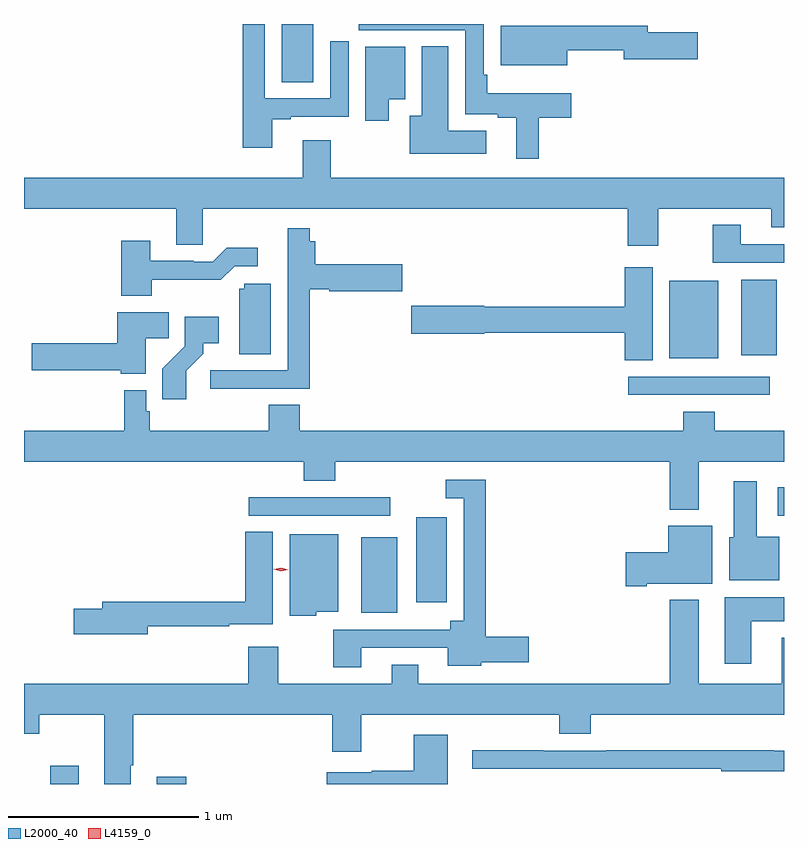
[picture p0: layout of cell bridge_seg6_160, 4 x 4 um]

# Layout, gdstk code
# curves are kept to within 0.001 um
import gdstk
lib = gdstk.Library(unit=1e-6, precision=1e-09)
def R(c, l, rs):  # rectangles x0, y0, x1, y1
    for r in rs: c.add(gdstk.rectangle(r[:2], r[2:], *l))
def P(c, l, *ps):  # polygons
    for p in ps: c.add(gdstk.Polygon(p, *l))
L2000_40 = (2000, 40)
L4159_0 = (4159, 0)

bridge_seg6_160 = lib.new_cell('bridge_seg6_160')
R(bridge_seg6_160, L2000_40, [(615.207,953.632,615.355,953.728), (615.767,953.632,615.922,953.671), (616.844,954.533,617.032,954.931), (617.132,954.588,617.293,955.036), (619.035,955.043,619.068,955.195), (616.251,955.044,616.996,955.14), (618.249,955.68,618.994,955.776), (618.464,955.874,618.721,956.281), (618.842,955.889,619.03,956.287), (616.424,957.325,616.591,957.632)])
P(bridge_seg6_160, L2000_40, [(616.375,957.132),(616.471,957.132),(616.471,957.144),(616.776,957.144),(616.776,957.541),(616.68,957.541),(616.68,957.24),(616.335,957.24),(616.335,957.632),(616.219,957.632),(616.219,956.982),(616.375,956.982)],
  [(617.777,957.139),(617.947,957.139),(617.947,957.268),(617.507,957.268),(617.507,957.364),(617.487,957.364),(617.487,957.632),(616.831,957.632),(616.831,957.6),(617.391,957.6),(617.391,957.158),(617.562,957.158),(617.562,957.139),(617.66,957.139),(617.66,956.922),(617.777,956.922)],
  [(617.926,957.493),(618.224,957.493),(618.224,957.446),(618.613,957.446),(618.613,957.588),(618.352,957.588),(618.352,957.622),(617.576,957.622),(617.576,957.416),(617.926,957.416)],
  [(617.5,957.07),(617.302,957.07),(617.302,957.515),(617.162,957.515),(617.162,957.148),(617.099,957.148),(617.099,956.948),(617.5,956.948)],
  [(616.987,957.236),(617.074,957.236),(617.074,957.511),(616.865,957.511),(616.865,957.123),(616.987,957.123)],
  [(618.405,956.66),(619.001,956.66),(619.001,956.561),(619.068,956.561),(619.068,956.824),(616.683,956.824),(616.683,957.019),(616.535,957.019),(616.535,956.824),(615.068,956.824),(615.068,956.66),(615.869,956.66),(615.869,956.47),(616.008,956.47),(616.008,956.66),(618.245,956.66),(618.245,956.466),(618.405,956.466)],
  [(619.068,956.472),(618.841,956.472),(618.841,956.575),(618.694,956.575),(618.694,956.376),(619.068,956.376)],
  [(616.271,955.713),(616.571,955.713),(616.571,956.237),(616.674,956.237),(616.674,956.225),(617.059,956.225),(617.059,956.367),(616.601,956.367),(616.601,956.488),(616.571,956.488),(616.571,956.557),(616.455,956.557),(616.455,955.809),(616.047,955.809),(616.047,955.711),(616.271,955.711)],
  [(615.741,956.286),(616.103,956.285),(616.176,956.358),(616.297,956.358),(616.297,956.455),(616.135,956.455),(616.062,956.382),(615.962,956.382),(615.962,956.385),(615.733,956.385),(615.733,956.491),(615.581,956.491),(615.581,956.201),(615.741,956.201)],
  [(618.376,956.353),(618.23,956.353),(618.23,956.144),(617.49,956.144),(617.49,956.15),(617.106,956.15),(617.106,956.003),(617.49,956.003),(617.49,956.008),(618.23,956.008),(618.23,955.861),(618.376,955.861)],
  [(616.366,956.265),(616.227,956.265),(616.227,956.238),(616.202,956.238),(616.202,955.894),(616.366,955.894)],
  [(615.709,955.978),(615.83,955.978),(615.83,956.116),(615.56,956.116),(615.56,955.952),(615.108,955.952),(615.108,955.81),(615.576,955.81),(615.576,955.79),(615.709,955.79)],
  [(615.922,955.807),(616.012,955.897),(616.012,955.952),(616.093,955.952),(616.093,956.092),(615.915,956.092),(615.915,955.937),(615.796,955.818),(615.796,955.656),(615.922,955.656)],
  [(618.619,955.328),(619.068,955.328),(619.068,955.492),(618.704,955.492),(618.704,955.591),(618.539,955.591),(618.539,955.492),(616.52,955.492),(616.52,955.628),(616.355,955.628),(616.355,955.492),(615.731,955.492),(615.731,955.593),(615.711,955.593),(615.711,955.705),(615.595,955.705),(615.595,955.492),(615.068,955.492),(615.068,955.328),(616.541,955.328),(616.541,955.229),(616.706,955.229),(616.706,955.328),(618.467,955.328),(618.467,955.076),(618.619,955.076)],
  [(616.843,954.348),(617.297,954.348),(617.297,954.254),(617.475,954.254),(617.475,954.272),(617.725,954.272),(617.725,954.407),(617.498,954.407),(617.498,955.233),(617.289,955.233),(617.289,955.137),(617.382,955.137),(617.382,954.49),(617.312,954.49),(617.312,954.444),(616.696,954.444),(616.696,954.246),(616.843,954.246)],
  [(619.042,954.934),(618.925,954.934),(618.925,955.225),(618.803,955.225),(618.803,954.93),(618.779,954.93),(618.779,954.704),(619.042,954.704)],
  [(618.346,954.686),(618.691,954.686),(618.691,954.991),(618.458,954.991),(618.458,954.852),(618.234,954.852),(618.234,954.674),(618.346,954.674)],
  [(615.718,954.462),(616.148,954.462),(616.148,954.474),(616.378,954.474),(616.378,954.959),(616.232,954.959),(616.232,954.59),(615.479,954.59),(615.479,954.554),(615.33,954.554),(615.33,954.419),(615.718,954.419)],
  [(616.605,954.539),(616.723,954.539),(616.723,954.946),(616.466,954.946),(616.466,954.518),(616.605,954.518)],
  [(618.895,954.488),(619.068,954.488),(619.068,954.616),(618.755,954.616),(618.755,954.264),(618.895,954.264)],
  [(615.631,953.731),(615.644,953.731),(615.644,953.996),(616.691,953.996),(616.691,953.802),(616.843,953.802),(616.843,953.996),(617.885,953.996),(617.885,953.897),(618.05,953.897),(618.05,953.996),(619.068,953.996),(619.068,954.403),(619.055,954.403),(619.055,954.16),(618.619,954.16),(618.619,954.601),(618.467,954.601),(618.467,954.16),(617.143,954.16),(617.143,954.259),(617.003,954.259),(617.003,954.16),(616.407,954.16),(616.407,954.355),(616.247,954.355),(616.247,954.16),(615.068,954.16),(615.068,953.897),(615.147,953.897),(615.147,953.996),(615.491,953.996),(615.491,953.632),(615.631,953.632)],
  [(617.299,953.89),(617.12,953.89),(617.12,953.703),(616.899,953.703),(616.899,953.695),(616.662,953.695),(616.662,953.632),(617.299,953.632)],
  [(619.068,953.808),(619.013,953.808),(619.013,953.81),(618.133,953.81),(618.133,953.808),(617.801,953.808),(617.801,953.81),(617.427,953.81),(617.427,953.711),(618.739,953.711),(618.739,953.7),(619.068,953.7)])
P(bridge_seg6_160, L4159_0, [(616.42,954.751),(616.382,954.761),(616.382,954.761),(616.382,954.762),(616.421,954.771),(616.459,954.76),(616.459,954.76),(616.459,954.76)])

lib.write_gds('bridge_seg6_160.gds')
